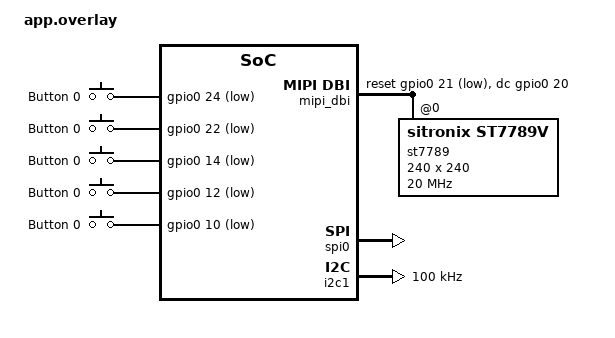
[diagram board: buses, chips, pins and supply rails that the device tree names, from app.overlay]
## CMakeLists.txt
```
#-------------------------------------------------------------------------------
# Zephyr Example Application
#
# Copyright (c) 2021 Nordic Semiconductor ASA
# SPDX-License-Identifier: Apache-2.0

cmake_minimum_required(VERSION 3.13.1)

set(OPENOCD /usr/local/bin/openocd)
set(OPENOCD_DEFAULT_PATH /home/sonny/pico/openocd)

find_package(Zephyr REQUIRED HINTS $ENV{ZEPHYR_BASE})

project(app LANGUAGES C)

target_sources(app PRIVATE src/main.c)

# The code below locates the git index file for this repository and adds it as a dependency for
# the application VERSION file so that if the repo has a new commit added, even if no files in
# the build have changed, the application version file will be regenerated with the new git commit
find_package(Git QUIET)
if(GIT_FOUND)
  execute_process(
    COMMAND ${GIT_EXECUTABLE} rev-parse --absolute-git-dir
    WORKING_DIRECTORY .
    OUTPUT_VARIABLE application_git_dir
    OUTPUT_STRIP_TRAILING_WHITESPACE
    ERROR_STRIP_TRAILING_WHITESPACE
    ERROR_VARIABLE stderr
    RESULT_VARIABLE return_code
  )
  # If there is an error e.g. it is not a git repo, we just silently ignore it and continue
  # without a dependency, this will be the case with freestanding applications.
  if(NOT return_code)
    if(NOT "${stderr}" STREQUAL "")
      message(WARNING "Application build version git rev-parse warned: ${stderr}")
    endif()

    set_property(TARGET app_version_h PROPERTY APP_VERSION_DEPENDS ${application_git_dir}/index)
  endif()
endif()
```

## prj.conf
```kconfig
# Copyright (c) 2021 Nordic Semiconductor ASA
# SPDX-License-Identifier: Apache-2.0
#
# This file contains selected Kconfig options for the application.

CONFIG_SENSOR=y
CONFIG_BLINK=y
CONFIG_GPIO=y
CONFIG_SPI=y
CONFIG_I2C=y
CONFIG_DISPLAY=y
CONFIG_ST7789V=y

# configure lvgl
CONFIG_LVGL=y

#added
CONFIG_LV_FONT_MONTSERRAT_28=y

# size of the memory region from which lvgl memory is allocated
CONFIG_LV_Z_MEM_POOL_SIZE=32768
CONFIG_MAIN_STACK_SIZE=8192
CONFIG_LV_Z_BITS_PER_PIXEL=16
CONFIG_LV_COLOR_16_SWAP=y
```

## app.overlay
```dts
#include <zephyr/dt-bindings/lvgl/lvgl.h>
#include <zephyr/dt-bindings/display/panel.h>
#include <zephyr/dt-bindings/mipi_dbi/mipi_dbi.h>

/ {

  chosen {
    zephyr,display = &st7789;
  };
  
  aliases {
    sw24 = &swgpio24;
    sw22 = &swgpio22;
    sw14 = &swgpio14;
    sw12 = &swgpio12;
    sw10 = &swgpio10;
    
    my-i2c1 = &i2c1;
  };
  
  buttons {
        compatible = "gpio-keys";
        swgpio24: sw_24 {
            gpios = <&gpio0 24 (GPIO_ACTIVE_LOW | GPIO_PULL_UP)>;
            label = "Button 0";
        };
        swgpio22: sw_22 {
            gpios = <&gpio0 22 (GPIO_ACTIVE_LOW | GPIO_PULL_UP)>;
            label = "Button 0";
        };
        swgpio14: sw_14 {
            gpios = <&gpio0 14 (GPIO_ACTIVE_LOW | GPIO_PULL_UP)>;
            label = "Button 0";
        };
        swgpio12: sw_12 {
            gpios = <&gpio0 12 (GPIO_ACTIVE_LOW | GPIO_PULL_UP)>;
            label = "Button 0";
        };
        swgpio10: sw_10 {
            gpios = <&gpio0 10 (GPIO_ACTIVE_LOW | GPIO_PULL_UP)>;
            label = "Button 0";
        };
  };
  
  mipi_dbi {
    compatible      = "zephyr,mipi-dbi-spi";
    spi-dev         = <&spi0>;
    dc-gpios        = <&gpio0 20 GPIO_ACTIVE_HIGH>;
    reset-gpios     = <&gpio0 21 GPIO_ACTIVE_LOW>;
    write-only;
    #address-cells  = <1>;
    #size-cells     = <0>;

    st7789: st7789@0 {
	compatible = "sitronix,st7789v";
	reg = <0>;
	mipi-max-frequency = <20000000>;
	width = <240>;
	height = <240>;
	x-offset = <0>;
	y-offset = <0>;
	vcom = <0x19>;
	gctrl = <0x35>;
	vrhs = <0x12>;
	vdvs = <0x20>;
	mdac = <0x77>;
	gamma = <0x00>;
	pixel-format = <PANEL_PIXEL_FORMAT_RGB_565>;
	lcm = <0x2c>;
	porch-param = [0c 0c 00 33 33];
	cmd2en-param = [5a 69 02 00];
	pwctrl1-param = [a4 a1];
	pvgam-param = [d0 04 0d 11 13 2b 3f 54 4c 18 0d 0b 1f 23];
	nvgam-param = [d0 04 0c 11 13 2c 3f 44 51 2f 1f 1f 20 23];
	ram-param = [00 f0];
	rgb-param = [40 02 14];
	mipi-mode = "MIPI_DBI_MODE_SPI_4WIRE";
	status = "okay";
    };
  };
};

&spi0 {
    pinctrl-0 = <&spi0_default>;
    pinctrl-names = "default";
    status          = "okay";
    cs-gpios        = <&gpio0 17 GPIO_ACTIVE_LOW>;
};

/* reassign i2c1 pins */
&i2c1 {
	clock-frequency = <I2C_BITRATE_STANDARD>;
	pinctrl-0 = <&i2c1_custom>;
	pinctrl-names = "default";
	status = "okay";
};

&pinctrl {

	i2c1_custom: i2c1_custom {
		group1 {
			pinmux = <I2C1_SDA_P26>, <I2C1_SCL_P27>;
			input-enable;
			input-schmitt-enable;
		};
	};
};
```

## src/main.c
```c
#include <zephyr/kernel.h>
#include <zephyr/drivers/gpio.h>
#include <zephyr/drivers/i2c.h>

/* define mutex for i2c bus, we have several i2c slave to write/read to */
K_MUTEX_DEFINE(i2c_bus_mutex);

/* define message queue to share between threads */
#include "msg_queue.h"
K_MSGQ_DEFINE(my_shared_msgq, sizeof(struct my_message_t), 20, 4);

#include "display.h"
#include "buttons.c"
#include "digi_pot.h"
//#include "buzzer.h"

int main(void){

  /* buttons init will setup callback */
  buttons_init();
  
  while (1) {
  
    k_msleep(2000);

  }
return 0;
}
```

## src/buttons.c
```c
/*
 * https://reprap.org/wiki/Parallax_5_position_switch
 *
 */
#include <string.h>
#include <zephyr/kernel.h>
#include <zephyr/drivers/gpio.h>

#include "msg_queue.h"

int ret;

#define SW_NODE_24 DT_ALIAS(sw24)
static const struct gpio_dt_spec sw24 = GPIO_DT_SPEC_GET(SW_NODE_24, gpios);

#define SW_NODE_22 DT_ALIAS(sw22)
static const struct gpio_dt_spec sw22 = GPIO_DT_SPEC_GET(SW_NODE_22, gpios);

#define SW_NODE_14 DT_ALIAS(sw14)
static const struct gpio_dt_spec sw14 = GPIO_DT_SPEC_GET(SW_NODE_14, gpios);

#define SW_NODE_12 DT_ALIAS(sw12)
static const struct gpio_dt_spec sw12 = GPIO_DT_SPEC_GET(SW_NODE_12, gpios);

#define SW_NODE_10 DT_ALIAS(sw10)
static const struct gpio_dt_spec sw10 = GPIO_DT_SPEC_GET(SW_NODE_10, gpios);

static struct gpio_callback button_cb_data;

void button_pressed(const struct device *dev, struct gpio_callback *cb, uint32_t pins){
  struct my_message_t msg = {.id = 1, .str[0] = '\0'};
  
  if (pins & BIT(24)) {
    strcpy(msg.str, "  LEFT   ");
    if (k_msgq_put(&my_shared_msgq, &msg, K_NO_WAIT) != 0){
      k_msgq_purge(&my_shared_msgq);
    }
  } else if (pins & BIT(22)) {
    strcpy(msg.str, "  DOWN  ");
    if (k_msgq_put(&my_shared_msgq, &msg, K_NO_WAIT) != 0){
      k_msgq_purge(&my_shared_msgq);
    }
  } else if (pins & BIT(14)) {
    strcpy(msg.str, "  RIGHT  ");
    if (k_msgq_put(&my_shared_msgq, &msg, K_NO_WAIT) != 0){
      k_msgq_purge(&my_shared_msgq);
    } 
  } else if (pins & BIT(12)) {
    strcpy(msg.str, "  CENTER  ");
    if (k_msgq_put(&my_shared_msgq, &msg, K_NO_WAIT) != 0){
      k_msgq_purge(&my_shared_msgq);
    }
  } else if (pins & BIT(10)) {
    strcpy(msg.str, "  UP  ");
    if (k_msgq_put(&my_shared_msgq, &msg, K_NO_WAIT) != 0){
      k_msgq_purge(&my_shared_msgq);
    }
  }
}

void buttons_init(){
  
  gpio_pin_configure_dt(&sw24, GPIO_INPUT);
  gpio_pin_interrupt_configure_dt(&sw24, GPIO_INT_EDGE_TO_ACTIVE);

  gpio_pin_configure_dt(&sw22, GPIO_INPUT);
  gpio_pin_interrupt_configure_dt(&sw22, GPIO_INT_EDGE_TO_ACTIVE); 
  
  gpio_pin_configure_dt(&sw14, GPIO_INPUT);
  gpio_pin_interrupt_configure_dt(&sw14, GPIO_INT_EDGE_TO_ACTIVE);
  
  gpio_pin_configure_dt(&sw12, GPIO_INPUT);
  gpio_pin_interrupt_configure_dt(&sw12, GPIO_INT_EDGE_TO_ACTIVE);
  
  gpio_pin_configure_dt(&sw10, GPIO_INPUT);
  gpio_pin_interrupt_configure_dt(&sw10, GPIO_INT_EDGE_TO_ACTIVE);
  
  gpio_init_callback(&button_cb_data, button_pressed, BIT(sw24.pin) | BIT(sw22.pin) | BIT(sw14.pin) | BIT(sw12.pin) | BIT(sw10.pin));
  
  gpio_add_callback(sw24.port, &button_cb_data);
  gpio_add_callback(sw22.port, &button_cb_data);
  gpio_add_callback(sw14.port, &button_cb_data);
  gpio_add_callback(sw12.port, &button_cb_data);
  gpio_add_callback(sw10.port, &button_cb_data);
}
  
```

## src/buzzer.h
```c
/*
 * i2c buzzer used
 *   https://electricdollarstore.com/beep.html
 *
 */

#ifndef __BUZZER_H
#define __BUZZER_H

#include <zephyr/kernel.h>
#include <zephyr/drivers/i2c.h>

const struct device *dev_buzzer = DEVICE_DT_GET(DT_ALIAS(my_i2c1));
#define BUZZER_ADDRESS 0x30

void buzzer_thread(){

  /* 100 - millisecond duration, 100 - midi note */
  uint8_t buzzer_buf[2] = {100, 100};
  int ret;
  
  while (1) {
  
    /* lock i2c bus, some threads can write/read anytime */
    k_mutex_lock(&i2c_bus_mutex, K_MSEC(100));
    ret = i2c_write(dev_buzzer, buzzer_buf, sizeof(buzzer_buf), BUZZER_ADDRESS);
    k_mutex_unlock(&i2c_bus_mutex);
  
    k_msleep(2000);
  }
}

K_THREAD_DEFINE(buzzer_thread_id, 1024, buzzer_thread, NULL, NULL, NULL, 9, 0, 0);

#endif
```

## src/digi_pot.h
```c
/*
 * i2c digital pot used
 *   https://electricdollarstore.com/pot.html
 *
 */

#ifndef __DIGI_POT_H
#define __DIGI_POT_H

#include <zephyr/kernel.h>
#include <zephyr/drivers/gpio.h>
#include <zephyr/drivers/i2c.h>

#include <stdio.h>
#include <string.h>

#include "msg_queue.h"

const struct device *dev = DEVICE_DT_GET(DT_ALIAS(my_i2c1));
#define ADDRESS 0x28
#define REGISTER_ADDRESS 0x64

void digipot_thread(void *p1, void *p2, void *p3){

  int ret;
  uint16_t result;
  uint8_t read_buf[1];
  
  while (1) {
  
    struct my_message_t msg = {.id = 2, .str[0] = '\0'};
  
    /* lock the i2c bus, some threads can perform i2c transcation anytime */
    k_mutex_lock(&i2c_bus_mutex, K_MSEC(100));
    ret = i2c_reg_read_byte(dev, ADDRESS, REGISTER_ADDRESS, read_buf);
    k_mutex_unlock(&i2c_bus_mutex);
    
    /*
     * since we're reading register 100
     * return value in read_buf is 1 - 100 (see electricdollarstore.com)
     * then we multiple the return value by 10
     * then we convert the result to string and display to the lcd display
     */
    result = read_buf[0] * 10;
    sprintf(msg.str, "%d", result);
    
    if (k_msgq_put(&my_shared_msgq, &msg, K_NO_WAIT) != 0){
      k_msgq_purge(&my_shared_msgq);
    }
    
    k_msleep(50);
  }
}
K_THREAD_DEFINE(digipot_thread_id, 1024, digipot_thread, NULL, NULL, NULL, 6, 0, 0);

#endif
```

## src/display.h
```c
/*
 * display used st7789
 *   amazon ASIN B0HC38FLGL
 *
 */

#ifndef __DISPLAY_H
#define __DISPLAY_H

#include <zephyr/kernel.h>
#include <zephyr/drivers/display.h>
#include <string.h>
#include <lvgl.h>
#include <lvgl_mem.h>
#include <lvgl_zephyr.h>

#include "msg_queue.h"

#define LVGL_THREAD_STACK_SIZE 4096
K_THREAD_STACK_DEFINE(lvgl_thread_stack, LVGL_THREAD_STACK_SIZE);

int ret;
lv_obj_t *hello_world_label;
lv_obj_t *count_label;
char uptime_str[32];
const struct device *display_dev;

void display_refresh_thread(void *p1, void *p2, void *p3){

  struct my_message_t received_msg;
  int ret;
  
  ARG_UNUSED(p1);
  ARG_UNUSED(p2);
  ARG_UNUSED(p3);
   
  display_dev = DEVICE_DT_GET(DT_CHOSEN(zephyr_display));
  
  hello_world_label = lv_label_create(lv_screen_active());
  lv_obj_set_style_text_font(hello_world_label, &lv_font_montserrat_28, 0);
  lv_label_set_text(hello_world_label, "display init...");
  lv_obj_align(hello_world_label, LV_ALIGN_CENTER, 0, 0);
  
  count_label = lv_label_create(lv_screen_active());
  lv_obj_set_style_text_font(count_label, &lv_font_montserrat_28, 0);
  lv_obj_align(count_label, LV_ALIGN_BOTTOM_MID, 0, 0);
  
  lv_timer_handler();
  ret = display_blanking_off(display_dev);
 
  while(1){
      ret = k_msgq_get(&my_shared_msgq, &received_msg, K_FOREVER);
      //ret = k_msgq_get(&my_shared_msgq, &received_msg, K_NO_WAIT);      
      if (ret == 0) { // if ret == 0 there is message in the queue
        if (received_msg.id == 1) {
          lv_label_set_text(hello_world_label, received_msg.str);
        } else if (received_msg.id == 2) {
          lv_label_set_text(count_label, received_msg.str);
        }
      } 
      
      lv_timer_handler();
  }
}
K_THREAD_DEFINE(lvgl_thread_id, LVGL_THREAD_STACK_SIZE, display_refresh_thread, NULL, NULL, NULL, 7, 0, 0);

#endif
```

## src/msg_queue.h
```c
#ifndef MSG_QUEUE_H
#define MSG_QUEUE_H

#include <zephyr/kernel.h>

struct my_message_t {
  uint32_t id;
  char str[20];
};

/* declare the queue extern */
extern struct k_msgq my_shared_msgq;

#endif

  
```
